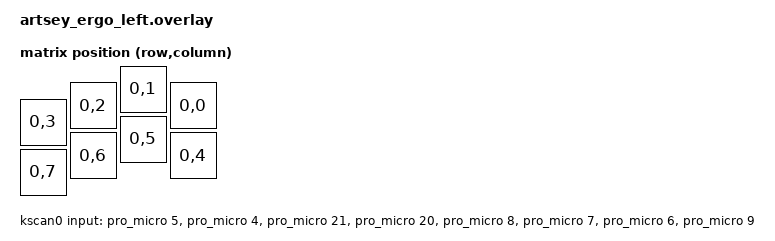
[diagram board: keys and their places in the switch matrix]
#include "artsey_ergo.dtsi"

&kscan0 {
	input-gpios =
		<&pro_micro  5 (GPIO_ACTIVE_LOW | GPIO_PULL_UP)>,
		<&pro_micro  4 (GPIO_ACTIVE_LOW | GPIO_PULL_UP)>,
		<&pro_micro 21 (GPIO_ACTIVE_LOW | GPIO_PULL_UP)>,
		<&pro_micro 20 (GPIO_ACTIVE_LOW | GPIO_PULL_UP)>,

		<&pro_micro  8 (GPIO_ACTIVE_LOW | GPIO_PULL_UP)>,
		<&pro_micro  7 (GPIO_ACTIVE_LOW | GPIO_PULL_UP)>,
		<&pro_micro  6 (GPIO_ACTIVE_LOW | GPIO_PULL_UP)>,
		<&pro_micro  9 (GPIO_ACTIVE_LOW | GPIO_PULL_UP)>;
};

&default_layout {
	keys = //					  w	  h		  x	  y		rot		rx	ry
		<&key_physical_attrs	100	100		  0  66		  0		 0	 0>,
		<&key_physical_attrs	100	100		100  33		  0		 0	 0>,
		<&key_physical_attrs	100	100		200   0		  0		 0	 0>,
		<&key_physical_attrs	100	100		300  33		  0		 0	 0>,
		<&key_physical_attrs	100	100		  0 166		  0		 0	 0>,
		<&key_physical_attrs	100	100		100 133		  0		 0	 0>,
		<&key_physical_attrs	100	100		200 100		  0		 0	 0>,
		<&key_physical_attrs	100	100		300 133		  0		 0	 0>;
};

&default_transform {
	map = <
		RC(0,3) RC(0,2) RC(0,1) RC(0,0)
		RC(0,7) RC(0,6) RC(0,5) RC(0,4)
	>;
};

&default_position_map {
	layout1: layout1 {
		physical-layout = <&default_layout>;
		positions =
			<3 2 1 0>,
			<7 6 5 4>;
	};
};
